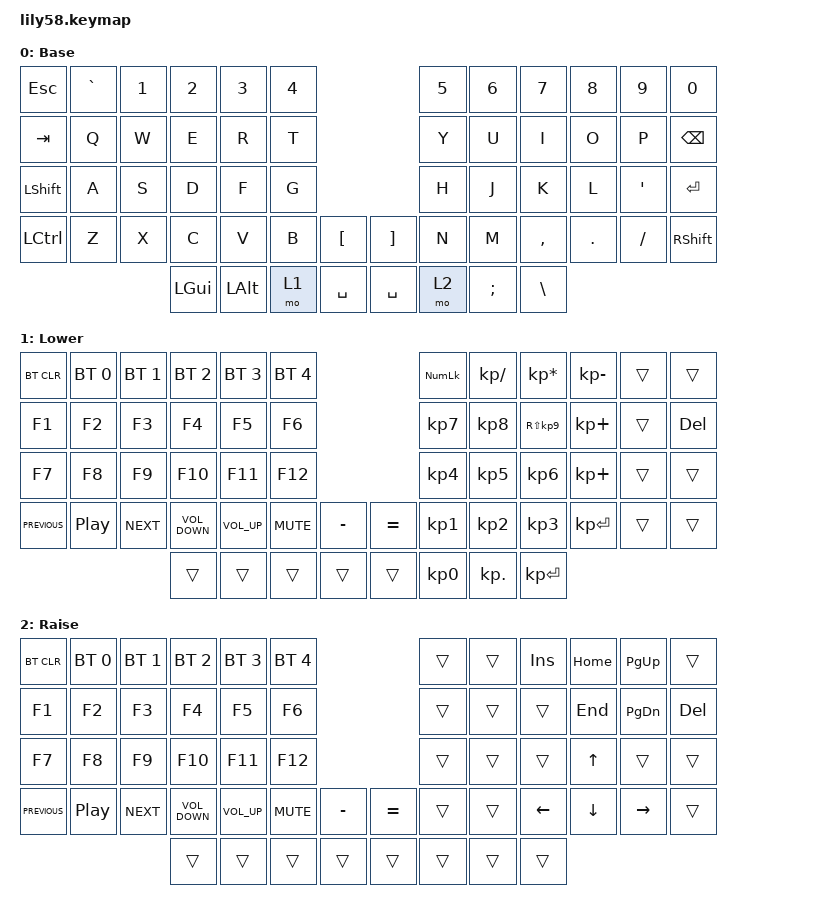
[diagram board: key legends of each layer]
/*
 * Copyright (c) 2020 The ZMK Contributors
 *
 * SPDX-License-Identifier: MIT
 */

#include <behaviors.dtsi>
#include <dt-bindings/zmk/bt.h>
#include <dt-bindings/zmk/keys.h>

/ {
    keymap {
        compatible = "zmk,keymap";

        default_layer {
            // ------------------------------------------------------------------------------------------------------------
            // |  ESC  |  1  |  2  |  3   |  4   |  5   |                   |  6   |  7    |  8    |  9   |   0   |   `   |
            // |  TAB  |  Q  |  W  |  E   |  R   |  T   |                   |  Y   |  U    |  I    |  O   |   P   |   -   |
            // |  CTRL |  A  |  S  |  D   |  F   |  G   |                   |  H   |  J    |  K    |  L   |   ;   |   '   |
            // | SHIFT |  Z  |  X  |  C   |  V   |  B   |   "["  |  |  "]"  |  N   |  M    |  ,    |  .   |   /   | SHIFT |
            //                     | ALT  | GUI  | LOWER|  SPACE |  | ENTER | RAISE| BSPC  | GUI   |

            display-name = "Base";
            bindings = <
&kp ESC           &kp GRAVE  &kp NUMBER_1  &kp NUMBER_2  &kp NUMBER_3  &kp NUMBER_4                          &kp N5  &kp NUMBER_6  &kp N7         &kp N8   &kp N9    &kp N0
&kp TAB           &kp Q      &kp W         &kp E         &kp R         &kp T                                 &kp Y   &kp U         &kp I          &kp O    &kp P     &kp BACKSPACE
&kp LEFT_SHIFT    &kp A      &kp S         &kp D         &kp F         &kp G                                 &kp H   &kp J         &kp K          &kp L    &kp SQT   &kp ENTER
&kp LEFT_CONTROL  &kp Z      &kp X         &kp C         &kp V         &kp B         &kp LBKT     &kp RBKT   &kp N   &kp M         &kp COMMA      &kp DOT  &kp FSLH  &kp RSHFT
                                           &kp LEFT_GUI  &kp LEFT_ALT  &mo 1         &kp SPACE    &kp SPACE  &mo 2   &kp SEMI      &kp BACKSLASH
            >;
        };

        lower_layer {
            // ------------------------------------------------------------------------------------------------------------
            // | BTCLR | BT1 | BT2 |  BT3 |  BT4 |  BT5 |                   |      |       |       |      |       |       |
            // |  F1   |  F2 |  F3 |  F4  |  F5  |  F6  |                   |  F7  |  F8   |  F9   |  F10 |  F11  |  F12  |
            // |   `   |  !  |  @  |  #   |  $   |  %   |                   |  ^   |  &    |  *    |  (   |   )   |   ~   |
            // |       |     |     |      |      |      |        |  |       |      |  _    |  +    |  {   |   }   |  "|"  |
            //                     |      |      |      |        |  |       |      |       |       |

            display-name = "Lower";
            bindings = <
&bt BT_CLR      &bt BT_SEL 0      &bt BT_SEL 1  &bt BT_SEL 2       &bt BT_SEL 3     &bt BT_SEL 4                          &kp KP_NUMLOCK   &kp KP_SLASH     &kp KP_ASTERISK      &kp KP_SUBTRACT  &trans  &trans
&kp F1          &kp F2            &kp F3        &kp F4             &kp F5           &kp F6                                &kp KP_NUMBER_7  &kp KP_NUMBER_8  &kp RS(KP_NUMBER_9)  &kp KP_PLUS      &trans  &kp DEL
&kp F7          &kp F8            &kp F9        &kp F10            &kp F11          &kp F12                               &kp KP_NUMBER_4  &kp KP_NUMBER_5  &kp KP_NUMBER_6      &kp KP_PLUS      &trans  &trans
&kp C_PREVIOUS  &kp C_PLAY_PAUSE  &kp C_NEXT    &kp C_VOLUME_DOWN  &kp C_VOLUME_UP  &kp C_MUTE    &kp MINUS    &kp EQUAL  &kp KP_NUMBER_1  &kp KP_NUMBER_2  &kp KP_NUMBER_3      &kp KP_ENTER     &trans  &trans
                                                &trans             &trans           &trans        &trans       &trans     &kp KP_NUMBER_0  &kp KP_DOT       &kp KP_ENTER
            >;
        };

        raise_layer {
            // ------------------------------------------------------------------------------------------------------------
            // |       |     |     |      |      |      |                   |      |       |       |      |       |       |
            // |   `   |  1  |  2  |  3   |  4   |  5   |                   |  6   |   7   |   8   |  9   |   0   |       |
            // |   F1  |  F2 |  F3 |  F4  |  F5  |  F6  |                   |      |   <-  |   v   |  ^   |  ->   |       |
            // |   F7  |  F8 |  F9 |  F10 |  F11 |  F12 |        |  |       |  +   |   -   |   =   |  [   |   ]   |   \   |
            //                     |      |      |      |        |  |       |      |       |       |

            display-name = "Raise";
            bindings = <
&bt BT_CLR      &bt BT_SEL 0      &bt BT_SEL 1  &bt BT_SEL 2       &bt BT_SEL 3     &bt BT_SEL 4                          &trans  &trans  &kp INSERT  &kp HOME  &kp PG_UP  &trans
&kp F1          &kp F2            &kp F3        &kp F4             &kp F5           &kp F6                                &trans  &trans  &trans      &kp END   &kp PG_DN  &kp DEL
&kp F7          &kp F8            &kp F9        &kp F10            &kp F11          &kp F12                               &trans  &trans  &trans      &kp UP    &trans     &trans
&kp C_PREVIOUS  &kp C_PLAY_PAUSE  &kp C_NEXT    &kp C_VOLUME_DOWN  &kp C_VOLUME_UP  &kp C_MUTE    &kp MINUS    &kp EQUAL  &trans  &trans  &kp LEFT    &kp DOWN  &kp RIGHT  &trans
                                                &trans             &trans           &trans        &trans       &trans     &trans  &trans  &trans
            >;
        };
    };
};
